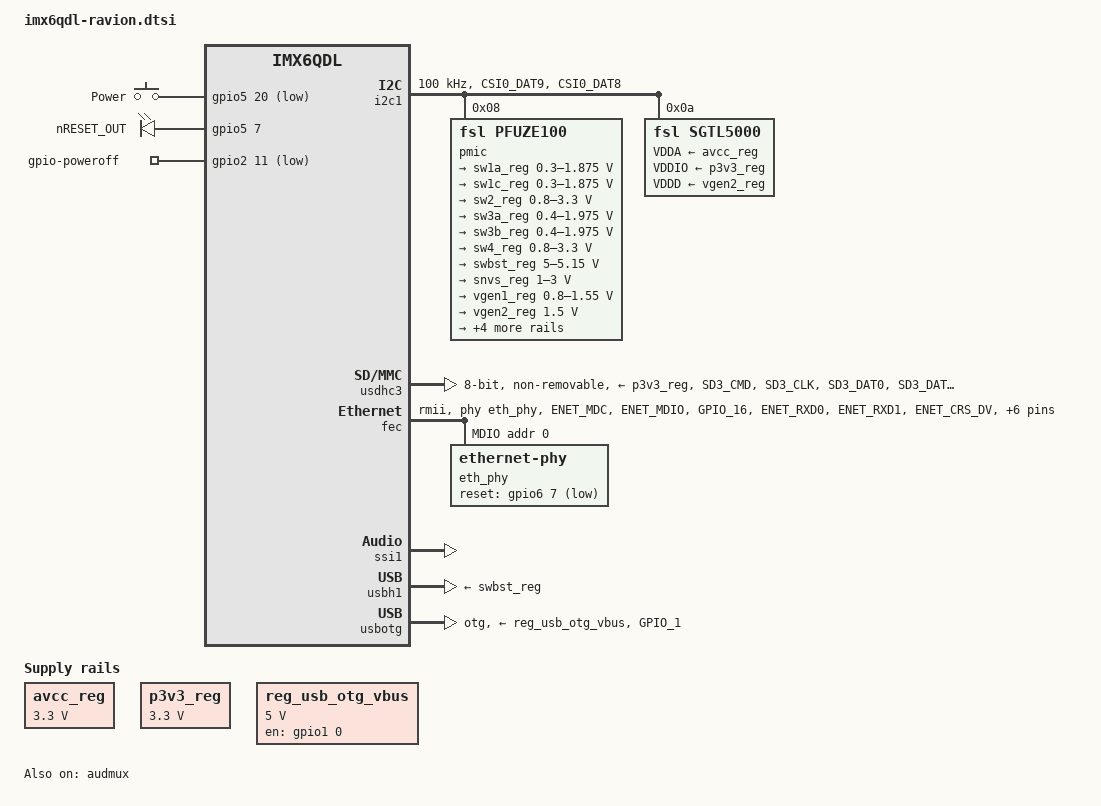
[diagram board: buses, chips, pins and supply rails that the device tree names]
/*
 * Copyright 2018 Radioavionica Corp.
 *
 * Author: Alex A. Mihaylov <minimumlaw@rambler.ru>
 *
 * This program is free software; you can redistribute it and/or modify
 * it under the terms of the GNU General Public License version 2 as
 * published by the Free Software Foundation.
 *
 */

#include <dt-bindings/input/input.h>
#include <dt-bindings/gpio/gpio.h>


/ {
	/*
	 * Power sources
	 */
	avcc_reg: avcc_regulator {
		compatible = "regulator-fixed";
		regulator-name = "avcc-supply";
		regulator-min-microvolt = <3300000>;
		regulator-max-microvolt = <3300000>;
		regulator-boot-on;
		regulator-always-on;
	};

	p3v3_reg: p3v3_regulator {
		compatible = "regulator-fixed";
		regulator-name = "3v3-supply";
		regulator-min-microvolt = <3300000>;
		regulator-max-microvolt = <3300000>;
		regulator-boot-on;
		regulator-always-on;
	};

	reg_usb_otg_vbus: regulator-usb-otg-vbus {
		compatible = "regulator-fixed";
		pinctrl-names = "default";
		pinctrl-0 = <&pinctrl_regulator_usb_otg_pwr>;
		regulator-name = "usb_otg_vbus";
		regulator-min-microvolt = <5000000>;
		regulator-max-microvolt = <5000000>;
		enable-active-high;
		gpio = <&gpio1 0 GPIO_ACTIVE_HIGH>; /* USBO_PEN : soDimm 129 */
	};

	/*
	 * All ravion board have power key on soDimm pin 45
	 */
	gpio-keys {
		compatible = "gpio-keys";
		pinctrl-names = "default";
		pinctrl-0 = <&pinctrl_gpio_keys>;

		power {
			label = "Power";
			gpios = <&gpio5 20 GPIO_ACTIVE_LOW>;	/* soDimm 45 */
			linux,code = <KEY_POWER>;
			debounce-interval = <100>;
			wakeup-source;
		};
	};

	/*
	 * All ravion board use nRESET output signal on soDimm pin 87
	 */
	gpio-leds {
		compatible = "gpio-leds";
		pinctrl-names = "default";
		pinctrl-0 = <&pinctrl_gpio_leds>;

		reset_out {
			label = "nRESET_OUT";
			gpios = <&gpio5 7 GPIO_ACTIVE_HIGH>; /* soDimm 87 */
			default-state = "on";
		};
	};

	/*
	 * All ravion board have power-off output on soDimm pin 133
	 */
	gpio-poweroff {
		pinctrl-names = "default";
		pinctrl-0 = <&pinctrl_gpio_poweroff>;
		compatible = "gpio-poweroff";
		gpios = <&gpio2 11 GPIO_ACTIVE_LOW>;		/* soDimm 133 */
	};

	/*
	 * Sound subsystem
	 */
	sound {
		compatible = "fsl,imx6-ravion-sgtl5000",
			     "fsl,imx-audio-sgtl5000";
		model = "imx6-ravion-sgtl5000";
		ssi-controller = <&ssi1>;
		audio-codec = <&sgtl5000>;
		audio-routing =
			"MIC_IN", "Mic Jack",
			"Mic Jack", "Mic Bias",
			"Headphone Jack", "HP_OUT";
		mux-int-port = <1>;
		mux-ext-port = <4>;
	};
};


/*
 * Serial ports
 */
&uart1 {
	pinctrl-names = "default";
	pinctrl-0 = <&pinctrl_uart1>;
	uart-has-rtscts;
	uart-has-dtrdsr;
	status = "disabled";
};

&uart2 {
	pinctrl-names = "default";
	pinctrl-0 = <&pinctrl_uart2>;
#if 0 /* See pincrtl_uart2 for thinks _MUST_ be fixed in NEXT hardware module revision */
	uart-has-rtscts;
#else /* this time very simplest software bugfix used */
	cts-gpios = <&gpio3 28 GPIO_ACTIVE_LOW>;
	rts-gpios = <&gpio3 29 GPIO_ACTIVE_LOW>;
#endif
	status = "disabled";
};

&uart3 {
	pinctrl-names = "default";
	pinctrl-0 = <&pinctrl_uart3>;
	status = "disabled";
};

/*
 * I2C Busses
 */
&i2c1 { /* Internal I2C interfcae */
	clock-frequency = <100000>;
	pinctrl-names = "default";
	pinctrl-0 = <&pinctrl_i2c1>;
	status = "okay";

	pmic: pfuze100@8 {
		compatible = "fsl,pfuze100";
		reg = <0x08>;

		regulators {
			sw1a_reg: sw1ab {
				regulator-min-microvolt = <300000>;
				regulator-max-microvolt = <1875000>;
				regulator-boot-on;
				regulator-always-on;
				regulator-ramp-delay = <6250>;
			};

			sw1c_reg: sw1c {
				regulator-min-microvolt = <300000>;
				regulator-max-microvolt = <1875000>;
				regulator-boot-on;
				regulator-always-on;
				regulator-ramp-delay = <6250>;
			};

			sw2_reg: sw2 {
				regulator-min-microvolt = <800000>;
				regulator-max-microvolt = <3300000>;
				regulator-boot-on;
				regulator-always-on;
				regulator-ramp-delay = <6250>;
			};

			sw3a_reg: sw3a {
				regulator-min-microvolt = <400000>;
				regulator-max-microvolt = <1975000>;
				regulator-boot-on;
				regulator-always-on;
			};

			sw3b_reg: sw3b {
				regulator-min-microvolt = <400000>;
				regulator-max-microvolt = <1975000>;
				regulator-boot-on;
				regulator-always-on;
			};

			sw4_reg: sw4 {
				regulator-min-microvolt = <800000>;
				regulator-max-microvolt = <3300000>;
			};

			swbst_reg: swbst {
				regulator-min-microvolt = <5000000>;
				regulator-max-microvolt = <5150000>;
			};

			snvs_reg: vsnvs {
				regulator-min-microvolt = <1000000>;
				regulator-max-microvolt = <3000000>;
				regulator-boot-on;
				regulator-always-on;
			};

			vref_reg: vrefddr {
				regulator-boot-on;
				regulator-always-on;
			};

			vgen1_reg: vgen1 {
				regulator-min-microvolt = <800000>;
				regulator-max-microvolt = <1550000>;
			};

			vgen2_reg: vgen2 {
				regulator-min-microvolt = <1500000>;
				regulator-max-microvolt = <1500000>;
				regulator-boot-on;
				regulator-always-on;
			};

			vgen3_reg: vgen3 {
				regulator-min-microvolt = <1800000>;
				regulator-max-microvolt = <3300000>;
				regulator-always-on;
			};

			vgen4_reg: vgen4 {
				regulator-min-microvolt = <1800000>;
				regulator-max-microvolt = <3300000>;
				regulator-always-on;
			};

			vgen5_reg: vgen5 {
				regulator-min-microvolt = <1800000>;
				regulator-max-microvolt = <3300000>;
				regulator-always-on;
			};

			vgen6_reg: vgen6 {
				regulator-min-microvolt = <1800000>;
				regulator-max-microvolt = <3300000>;
				regulator-always-on;
			};
		};
	};

	sgtl5000: codec@a {
		pinctrl-names = "default";
		pinctrl-0 = <&pinctrl_codec>;
		compatible = "fsl,sgtl5000";
		reg = <0x0a>;
		VDDA-supply = <&avcc_reg>;
		VDDIO-supply = <&p3v3_reg>;
		VDDD-supply = <&vgen2_reg>;
		micbias-resistor-k-ohms = <2>;
		micbias-voltage-m-volts = <2250>;
		clocks = <&clks IMX6QDL_CLK_CKO>;
		lrclk-strength = <3>;
	};
};

&i2c2 { /* Compatible I2C: soDimm 194, 196 */
	clock-frequency = <100000>;
	pinctrl-names = "default";
	pinctrl-0 = <&pinctrl_i2c2>;
	status = "disabled";

};

&i2c3 { /* Extended I2C: soDimm 128, 130 */
	clock-frequency = <100000>;
	pinctrl-names = "default";
	pinctrl-0 = <&pinctrl_i2c3>;
	status = "disabled";
};

/*
 * SPI Bus
 */
&ecspi1 {
	cs-gpios = <&gpio5 25 GPIO_ACTIVE_LOW>;
	pinctrl-names = "default";
	pinctrl-0 = <&pinctrl_ecspi1>;
	status = "disabled";
};


/*
 * SD/MMC and eMMC controllers
 */
&usdhc1 { /* compatible */
	pinctrl-names = "default";
	pinctrl-0 = <&pinctrl_usdhc1>;
/*	cd-gpios = <&gpio5 2 GPIO_ACTIVE_LOW>;	* soDimm 43 */
	bus-width = <4>;
	no-1-8-v;
	status = "disabled";
};

&usdhc2 { /* externed */
	pinctrl-names = "default";
	pinctrl-0 = <&pinctrl_usdhc2>;
/*	cd-gpios = <&gpio2 24 GPIO_ACTIVE_LOW>;	* soDimm 106 */
	bus-width = <4>;
	no-1-8-v;
	status = "disabled";
};

&usdhc3 { /* eMMC */
	pinctrl-names = "default";
	pinctrl-0 = <&pinctrl_usdhc3>;
	vmmc-supply = <&p3v3_reg>;
	vqmmc-supply = <&vgen3_reg>;
	bus-width = <8>;
	non-removable;
	status = "okay";
};

/*
 * Ethernet controller
 */

&fec {
	pinctrl-names = "default";
	pinctrl-0 = <&pinctrl_enet>;
	phy-mode = "rmii";
	phy-handle = <&eth_phy>;
	status = "okay";

	mdio {
               #address-cells = <1>;
               #size-cells = <0>;

		eth_phy: ethernet-phy@0 {
			reg = <0>;
			phy-is-integrated;
			reset-gpios = <&gpio6 7 GPIO_ACTIVE_LOW>;
			interrupt-parent = <&gpio6>;
			interrups = <8 IRQ_TYPE_EDGE_RISING>;
		};
	};
};

/*
 * Audio (digital part)
 */
&audmux {	status = "okay";	};
&ssi1 {		status = "okay";	};

/*
 * High-speed serial bus
 */
&pcie {		status = "disabled";	};
#ifndef IMX6DL /* only quad have SATA interface */
&sata {		status = "disabled";	};
#endif

/*
 * USB Subsystem
 */
&usbh1 {
	vbus-supply = <&swbst_reg>;
	disable-over-current;
	status = "okay";
};

&usbotg {
	pinctrl-names = "default";
	pinctrl-0 = <&pinctrl_usbotg>;
	vbus-supply = <&reg_usb_otg_vbus>;
	disable-over-current;

	dr_mode = "otg";
	status = "okay";
};

/*
 * PWMs
 */
&pwm3 {
	pinctrl-names = "default";
	pinctrl-0 = <&pinctrl_pwm3>;
	status = "disabled";
};

&pwm4 {
	pinctrl-names = "default";
	pinctrl-0 = <&pinctrl_pwm4>;
	status = "disabled";
};

/*
 * Video subsystems
 */
&hdmi {
	pinctrl-names = "default";
	pinctrl-0 = <&pinctrl_hdmi>;
	status = "disabled";
};

/*
 * LVDS display bridge
 */
&ldb {
	status = "disabled";

	lvds0_chan: lvds-channel@0 {
		status = "disabled";

		port@4 {
			reg = <4>;

			lvds0_out: endpoint {
				/* ToDo: place LVDS panel input endpoint here */
			};
		};
	};
};

&iomuxc {
	pinctrl-names = "default";
	pinctrl-0 = <&pinctrl_hog>;

	pinctrl_hog: hoggrp {
		fsl,pins = < /* se unused pins to GPIO input */
			/* Unused I2S interface on pins 2,4,6,8 */
			MX6QDL_PAD_DISP0_DAT16__GPIO5_IO10	0x1b0b0 /* soDimm2 */
			MX6QDL_PAD_DISP0_DAT18__GPIO5_IO12	0x1b0b0 /* soDimm4 */
			MX6QDL_PAD_DISP0_DAT17__GPIO5_IO11	0x1b0b0 /* soDimm6 */
			MX6QDL_PAD_DISP0_DAT19__GPIO5_IO13	0x1b0b0 /* soDimm8 */
			/* Unused OTG VBus detector (MX6QDL_PAD_GPIO_7__USB_OTG_HOST_MODE) */
			MX6QDL_PAD_GPIO_7__GPIO1_IO07		0x1b0b0 /* soDimm137 */
		>;
	};

	/*
	 * Power control
	 */
	pinctrl_gpio_poweroff: gpio-poweroff {
		fsl,pins = <
			MX6QDL_PAD_SD4_DAT3__GPIO2_IO11		0x0f058 /* soDimm133 */
		>;
	};

	pinctrl_gpio_keys: gpio-keys {
		fsl,pins = <	/* Power button */
			MX6QDL_PAD_CSI0_DATA_EN__GPIO5_IO20	0x1b0b0	/* soDimm45 */
		>;
	};

	pinctrl_gpio_leds: gpio-leds {
		fsl,pins = <	/* nRESET_OUT */
			MX6QDL_PAD_DISP0_DAT13__GPIO5_IO07	0x0f058 /* soDimm87 */
		>;
	};

	/*
	 * USB subsystem
	 */
	pinctrl_regulator_usb_otg_pwr: gpioregusbopwrgrp {
		fsl,pins = <
			MX6QDL_PAD_GPIO_0__GPIO1_IO00		0x0f058	/* soDimm129 */
		>;
	};

	/*
	 * Uart serial interfaces
	 */
	pinctrl_uart1: uart1grp {
		fsl,pins = <
			MX6QDL_PAD_EIM_D24__UART1_DTR_B		0x1b0b1	/* soDimm23 */
			MX6QDL_PAD_EIM_D19__UART1_CTS_B		0x1b0b1	/* soDimm25 */
			MX6QDL_PAD_EIM_D20__UART1_RTS_B		0x1b0b1	/* soDimm27 */
			MX6QDL_PAD_EIM_D25__UART1_DSR_B		0x1b0b1	/* soDimm29 */
			MX6QDL_PAD_EIM_D23__UART1_DCD_B		0x1b0b1	/* soDimm31 */
			MX6QDL_PAD_CSI0_DAT11__UART1_RX_DATA	0x1b0b1	/* soDimm33 */
			MX6QDL_PAD_CSI0_DAT10__UART1_TX_DATA	0x1b0b1	/* soDimm35 */
			MX6QDL_PAD_EIM_EB3__UART1_RI_B		0x1b0b1	/* soDimm37 */
		>;
	};

	pinctrl_uart2: uart2grp {
		fsl,pins = <
#if 0 /* This _MUST_ be fixed in NEXT hardware module revision */
			MX6QDL_PAD_EIM_D29__UART2_CTS_B		0x1b0b1	/* soDimm32 */
			MX6QDL_PAD_EIM_D28__UART2_RTS_B		0x1b0b1	/* soDimm34 */
#else
			MX6QDL_PAD_EIM_D28__GPIO3_IO28		0x1b0b1	/* soDimm32 */
			MX6QDL_PAD_EIM_D29__GPIO3_IO29		0x1b0b1	/* soDimm34 */
#endif
			MX6QDL_PAD_SD4_DAT4__UART2_RX_DATA	0x1b0b1	/* soDimm36 */
			MX6QDL_PAD_SD4_DAT7__UART2_TX_DATA	0x1b0b1	/* soDimm38 */
		>;
	};

	pinctrl_uart3: uart3grp {
		fsl,pins = <
			MX6QDL_PAD_SD4_CMD__UART3_TX_DATA	0x1b0b1	/* soDimm21 */
			MX6QDL_PAD_SD4_CLK__UART3_RX_DATA	0x1b0b1	/* soDimm19 */
		>;
	};

	/*
	 * I2C bus interfaces
	 */
	pinctrl_i2c1: i2c1grp { /* Internal: PMIC, codec, etc... */
		fsl,pins = <
			MX6QDL_PAD_CSI0_DAT9__I2C1_SCL		0x4001b8b1
			MX6QDL_PAD_CSI0_DAT8__I2C1_SDA		0x4001b8b1
		>;
	};

	pinctrl_i2c2: i2c2grp { /* Compatible */
		fsl,pins = <
			MX6QDL_PAD_EIM_EB2__I2C2_SCL		0x4001b8b1 /* soDImm196 */
			MX6QDL_PAD_EIM_D16__I2C2_SDA		0x4001b8b1 /* soDimm194 */
		>;
	};

	pinctrl_i2c3: i2c3grp { /* Extended */
		fsl,pins = <
			MX6QDL_PAD_EIM_D17__I2C3_SCL		0x4001b8b1 /* soDimm128 */
			MX6QDL_PAD_EIM_D18__I2C3_SDA		0x4001b8b1 /* soDimm130 */
		>;
	};

	/*
	 * SPI bus
	 */
	pinctrl_ecspi1: ecspi1grp {
		fsl,pins = <
			MX6QDL_PAD_CSI0_DAT6__ECSPI1_MISO	0x100b1 /* soDimm90 */
			MX6QDL_PAD_CSI0_DAT5__ECSPI1_MOSI	0x100b1	/* soDimm92 */
			MX6QDL_PAD_CSI0_DAT4__ECSPI1_SCLK	0x100b1 /* soDimm88 */
			/* SPI CS */
			MX6QDL_PAD_CSI0_DAT7__GPIO5_IO25	0x000b1	/* soDimm86 */
		>;
	};

	/*
	 * SD/MMC and eMMC controllers
	 */
	pinctrl_usdhc1: usdhc1grp { /* Compatible */
		fsl,pins = <
			MX6QDL_PAD_SD1_CMD__SD1_CMD		0x17059	/* soDimm190 */
			MX6QDL_PAD_SD1_CLK__SD1_CLK		0x10059	/* soDimm47 */
			MX6QDL_PAD_SD1_DAT0__SD1_DATA0		0x17059	/* soDimm192 */
			MX6QDL_PAD_SD1_DAT1__SD1_DATA1		0x17059	/* soDimm49 */
			MX6QDL_PAD_SD1_DAT2__SD1_DATA2		0x17059	/* soDimm51 */
			MX6QDL_PAD_SD1_DAT3__SD1_DATA3		0x17059	/* soDimm53 */
			MX6QDL_PAD_EIM_A25__GPIO5_IO02		0x0f058	/* soDimm43 */
		>;
	};

	pinctrl_usdhc2: usdhc2grp { /* Extended */
		fsl,pins = <
			MX6QDL_PAD_SD2_CMD__SD2_CMD		0x17059	/* soDimm99 */
			MX6QDL_PAD_SD2_CLK__SD2_CLK		0x10059	/* soDimm89 */
			MX6QDL_PAD_SD2_DAT0__SD2_DATA0		0x17059	/* soDimm93 */
			MX6QDL_PAD_SD2_DAT1__SD2_DATA1		0x17059	/* soDimm95 */
			MX6QDL_PAD_SD2_DAT2__SD2_DATA2		0x17059	/* soDimm105 */
			MX6QDL_PAD_SD2_DAT3__SD2_DATA3		0x17059	/* soDimm107 */
			MX6QDL_PAD_EIM_CS1__GPIO2_IO24		0x0f058	/* soDimm106 */
		>;
	};

	pinctrl_usdhc3: usdhc3grp { /* internal eMMC card */
		fsl,pins = <
			MX6QDL_PAD_SD3_CMD__SD3_CMD		0x17059
			MX6QDL_PAD_SD3_CLK__SD3_CLK		0x10059
			MX6QDL_PAD_SD3_DAT0__SD3_DATA0		0x17059
			MX6QDL_PAD_SD3_DAT1__SD3_DATA1		0x17059
			MX6QDL_PAD_SD3_DAT2__SD3_DATA2		0x17059
			MX6QDL_PAD_SD3_DAT3__SD3_DATA3		0x17059
			MX6QDL_PAD_SD3_DAT4__SD3_DATA4		0x17059
			MX6QDL_PAD_SD3_DAT5__SD3_DATA5		0x17059
			MX6QDL_PAD_SD3_DAT6__SD3_DATA6		0x17059
			MX6QDL_PAD_SD3_DAT7__SD3_DATA7		0x17059
			MX6QDL_PAD_SD3_RST__SD3_RESET		0x17059
		>;
	};

	/*
	 * Ethernet
	 */
	pinctrl_enet: enetgrp {
		fsl,pins = <
			/* MDIO bus */
			MX6QDL_PAD_ENET_MDC__ENET_MDC		0x1b0b0
			MX6QDL_PAD_ENET_MDIO__ENET_MDIO		0x1b0b0
			/* receive */
			MX6QDL_PAD_GPIO_16__ENET_REF_CLK	((1<<30) | 0x1b030)
			MX6QDL_PAD_ENET_RXD0__ENET_RX_DATA0	0x1b030
			MX6QDL_PAD_ENET_RXD1__ENET_RX_DATA1	0x1b030
			MX6QDL_PAD_ENET_CRS_DV__ENET_RX_EN	0x1b030
			MX6QDL_PAD_ENET_RX_ER__ENET_RX_ER	0x1b030
			/* transmitt */
			MX6QDL_PAD_ENET_TXD0__ENET_TX_DATA0	0x1b030
			MX6QDL_PAD_ENET_TXD1__ENET_TX_DATA1	0x1b030
			MX6QDL_PAD_ENET_TX_EN__ENET_TX_EN	0x1b030
			/* phy control pins */
			MX6QDL_PAD_NANDF_CLE__GPIO6_IO07	0x0f058 /* nPHY_RESET */
			MX6QDL_PAD_NANDF_ALE__GPIO6_IO08	0x1b0b0 /* nPHY_IRQ */
		>;
	};

	/*
	 * Audio (digital part)
	 */
	pinctrl_codec: codecgrp {
		fsl,pins = <
			MX6QDL_PAD_DISP0_DAT23__AUD4_RXD	0x130b0
			MX6QDL_PAD_DISP0_DAT20__AUD4_TXC	0x130b0
			MX6QDL_PAD_DISP0_DAT21__AUD4_TXD	0x110b0
			MX6QDL_PAD_DISP0_DAT22__AUD4_TXFS	0x130b0
			/* Codec MCLK clock output */
			MX6QDL_PAD_GPIO_5__CCM_CLKO1		0x000b0
		>;
	};

	pinctrl_hdmi: hdmigrp {
		fsl,pins = <
			MX6QDL_PAD_KEY_COL3__HDMI_TX_DDC_SCL	0x4001b8b1
			MX6QDL_PAD_KEY_ROW3__HDMI_TX_DDC_SDA	0x4001b8b1
			/* MX6QDL_PAD_KEY_ROW2__HDMI_TX_CEC_LINE	0x4001b8b1 */
		>;
	};


	/*
	 * Parrallel camera capture interface
	 */
	pinctrl_ipu1_csi0: ipu1csi0grp {
		fsl,pins = <
			MX6QDL_PAD_CSI0_DAT12__IPU1_CSI0_DATA12		0xb0b1	/* soDimm101 CIF_DATA2 */
			MX6QDL_PAD_CSI0_DAT13__IPU1_CSI0_DATA13		0xb0b1	/* soDimm103 CIF_DATA3 */
			MX6QDL_PAD_CSI0_DAT14__IPU1_CSI0_DATA14		0xb0b1	/* soDimm79  CIF_DATA4 */
			MX6QDL_PAD_CSI0_DAT15__IPU1_CSI0_DATA15		0xb0b1	/* soDimm97  CIF_DATA5 */
			MX6QDL_PAD_CSI0_DAT16__IPU1_CSI0_DATA16		0xb0b1	/* soDimm67  CIF_DATA6 */
			MX6QDL_PAD_CSI0_DAT17__IPU1_CSI0_DATA17		0xb0b1	/* soDimm59  CIF_DATA7 */
			MX6QDL_PAD_CSI0_DAT18__IPU1_CSI0_DATA18		0xb0b1	/* soDimm85  CIF_DATA8 */
			MX6QDL_PAD_CSI0_DAT19__IPU1_CSI0_DATA19		0xb0b1	/* soDimm65  CIF_DATA9 */
			MX6QDL_PAD_CSI0_PIXCLK__IPU1_CSI0_PIXCLK	0xb0b1	/* soDimm96  CIF_PCLK */
			MX6QDL_PAD_CSI0_MCLK__IPU1_CSI0_HSYNC		0xb0b1	/* soDimm94  CIF_HSYNC */
			MX6QDL_PAD_CSI0_VSYNC__IPU1_CSI0_VSYNC		0xb0b1	/* soDimm81  CIF_VSYNC */
		>;
	};

	/*
	 * LCD interface (TFT BUS)
	 */
	pinctrl_ipu1_di1: ipu1di1grp {
		fsl,pins = <
			MX6QDL_PAD_EIM_A16__IPU1_DI1_DISP_CLK	0x61	/* soDimm56  TFT_PCLK  */
			MX6QDL_PAD_EIM_DA10__IPU1_DI1_PIN15	0x61	/* soDimm44  TFT_DE    */
			MX6QDL_PAD_EIM_DA11__IPU1_DI1_PIN02	0x61	/* soDimm68  TFT_HSYNC */
			MX6QDL_PAD_EIM_DA12__IPU1_DI1_PIN03	0x61	/* soDimm82  TFT_VSYNC */
			MX6QDL_PAD_EIM_DA9__IPU1_DISP1_DATA00	0x61	/* soDimm76  TFT_DAT00 */
			MX6QDL_PAD_EIM_DA8__IPU1_DISP1_DATA01	0x61	/* soDimm70  TFT_DAT01 */
			MX6QDL_PAD_EIM_DA7__IPU1_DISP1_DATA02	0x61	/* soDimm60  TFT_DAT02 */
			MX6QDL_PAD_EIM_DA6__IPU1_DISP1_DATA03	0x61	/* soDimm58  TFT_DAT03 */
			MX6QDL_PAD_EIM_DA5__IPU1_DISP1_DATA04	0x61	/* soDimm78  TFT_DAT04 */
			MX6QDL_PAD_EIM_DA4__IPU1_DISP1_DATA05	0x61	/* soDimm72  TFT_DAT05 */
			MX6QDL_PAD_EIM_DA3__IPU1_DISP1_DATA06	0x61	/* soDimm80  TFT_DAT06 */
			MX6QDL_PAD_EIM_DA2__IPU1_DISP1_DATA07	0x61	/* soDimm46  TFT_DAT07 */
			MX6QDL_PAD_EIM_DA1__IPU1_DISP1_DATA08	0x61	/* soDimm62  TFT_DAT08 */
			MX6QDL_PAD_EIM_DA0__IPU1_DISP1_DATA09	0x61	/* soDimm48  TFT_DAT09 */
			MX6QDL_PAD_EIM_EB1__IPU1_DISP1_DATA10	0x61	/* soDimm74  TFT_DAT10 */
			MX6QDL_PAD_EIM_EB0__IPU1_DISP1_DATA11	0x61	/* soDimm50  TFT_DAT11 */
			MX6QDL_PAD_EIM_A17__IPU1_DISP1_DATA12	0x61	/* soDimm52  TFT_DAT12 */
			MX6QDL_PAD_EIM_A18__IPU1_DISP1_DATA13	0x61	/* soDimm54  TFT_DAT13 */
			MX6QDL_PAD_EIM_A19__IPU1_DISP1_DATA14	0x61	/* soDimm66  TFT_DAT14 */
			MX6QDL_PAD_EIM_A20__IPU1_DISP1_DATA15	0x61	/* soDimm64  TFT_DAT15 */
			MX6QDL_PAD_EIM_A21__IPU1_DISP1_DATA16	0x61	/* soDimm57  TFT_DAT16 */
			MX6QDL_PAD_EIM_A22__IPU1_DISP1_DATA17	0x61	/* soDimm61  TFT_DAT17 */
			MX6QDL_PAD_EIM_A23__IPU1_DISP1_DATA18	0x61	/* soDimm136 TFT_DAT18 */
			MX6QDL_PAD_EIM_A24__IPU1_DISP1_DATA19	0x61	/* soDimm138 TFT_DAT19 */
			MX6QDL_PAD_EIM_D31__IPU1_DISP1_DATA20	0x61	/* soDimm140 TFT_DAT20 */
			MX6QDL_PAD_EIM_D30__IPU1_DISP1_DATA21	0x61	/* soDimm142 TFT_DAT21 */
			MX6QDL_PAD_EIM_D26__IPU1_DISP1_DATA22	0x61	/* soDimm144 TFT_DAT22 */
			MX6QDL_PAD_EIM_D27__IPU1_DISP1_DATA23	0x61	/* soDimm146 TFT_DAT23 */
		>;
	};

	/*
	 * USB OTG
	 */
	pinctrl_usbotg: usbotggrp {
		fsl,pins = <
			MX6QDL_PAD_GPIO_1__USB_OTG_ID		0x1b0b0 /* soDimm135 */
		>;
	};

	/*
	 * PWMs
	 */
	pinctrl_pwm3: pwm3grp {
		fsl,pins = <
			MX6QDL_PAD_SD4_DAT1__PWM3_OUT		0x1b0b1 /* soDimm28 */
		>;
	};

	pinctrl_pwm4: pwm4grp {
		fsl,pins = <
			MX6QDL_PAD_SD4_DAT2__PWM4_OUT		0x1b0b1 /* soDimm30 */
		>;
	};
};
